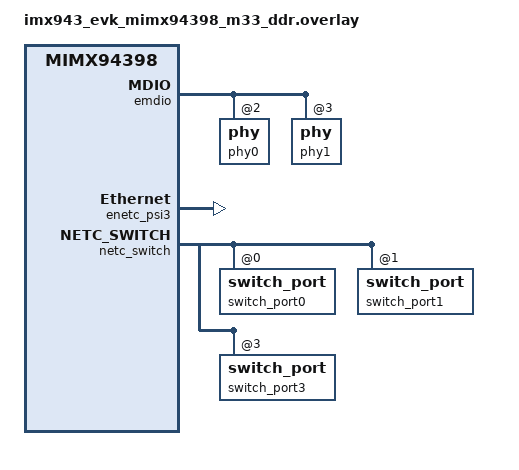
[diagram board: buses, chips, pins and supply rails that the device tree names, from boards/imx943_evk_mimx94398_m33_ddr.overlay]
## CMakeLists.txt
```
# SPDX-License-Identifier: Apache-2.0

cmake_minimum_required(VERSION 3.28.0)

find_package(Zephyr REQUIRED HINTS $ENV{ZEPHYR_BASE})
project(tsn-switch)

target_sources(app PRIVATE src/main.c)
```

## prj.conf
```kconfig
# Kernel
CONFIG_INIT_STACKS=y

# Random generator
CONFIG_TEST_RANDOM_GENERATOR=y

# Networking
CONFIG_NETWORKING=y

# Hostname
CONFIG_NET_HOSTNAME_ENABLE=y
CONFIG_NET_HOSTNAME="tsn-switch"

# IP
CONFIG_NET_IPV6=y
CONFIG_NET_IPV4=y
CONFIG_NET_UDP=y
CONFIG_NET_TCP=y
CONFIG_NET_STATISTICS=y
CONFIG_NET_TC_TX_COUNT=8
CONFIG_NET_TC_RX_COUNT=8
CONFIG_NET_IF_MAX_IPV4_COUNT=6
CONFIG_NET_IF_MAX_IPV6_COUNT=6
CONFIG_NET_PKT_RX_COUNT=64
CONFIG_NET_PKT_TX_COUNT=64
CONFIG_NET_BUF_RX_COUNT=128
CONFIG_NET_BUF_TX_COUNT=128
CONFIG_NET_LOG=y
CONFIG_NET_SHELL=y

# Config
CONFIG_NET_CONFIG_SETTINGS=y
CONFIG_NET_CONFIG_AUTO_INIT=n
CONFIG_NET_CONFIG_MY_IPV6_ADDR="2001:db8::1"
CONFIG_NET_CONFIG_MY_IPV4_ADDR="192.0.2.1"

# DSA support
CONFIG_ETH_DRIVER=y
CONFIG_NET_DSA=y
CONFIG_NET_DSA_LOG_LEVEL_INF=y

# Bridge
CONFIG_NET_ETHERNET_BRIDGE=y
CONFIG_NET_ETHERNET_BRIDGE_ETH_INTERFACE_COUNT=6
CONFIG_NET_ETHERNET_BRIDGE_FDB=y
CONFIG_NET_ETHERNET_BRIDGE_SHELL=y

# gPTP
CONFIG_NET_GPTP=y
CONFIG_NET_GPTP_STATISTICS=y
CONFIG_NET_GPTP_GM_CAPABLE=y
# gPTP bridge default priority1 per standard
CONFIG_NET_GPTP_BMCA_PRIORITY1=246
CONFIG_NET_GPTP_NUM_PORTS=6

# QBV
CONFIG_NET_QBV=y
```

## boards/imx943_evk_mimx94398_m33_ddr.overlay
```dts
/*
 * SPDX-FileCopyrightText: Copyright 2026 NXP
 *
 * SPDX-License-Identifier: Apache-2.0
 */

&emdio {
	status = "okay";

	phy0: phy@2 {
		status = "okay";
	};

	phy1: phy@3 {
		status = "okay";
	};
};

/* Internal port */
&enetc_psi3 {
	status = "okay";
};

&netc_switch {
	status = "okay";

	switch_port0: switch_port@0 {
		ptp-clock = <&netc_ptp_clock0>;
		status = "okay";
	};

	switch_port1: switch_port@1 {
		ptp-clock = <&netc_ptp_clock0>;
		status = "okay";
	};

	/* Internal port */
	switch_port3: switch_port@3 {
		status = "okay";
	};
};

&netc_ptp_clock0 {
	status = "okay";
};
```

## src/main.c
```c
/*
 * SPDX-FileCopyrightText: Copyright 2026 NXP
 *
 * SPDX-License-Identifier: Apache-2.0
 */

#include <zephyr/logging/log.h>
LOG_MODULE_REGISTER(net_tsn_switch_sample, LOG_LEVEL_DBG);

#include "tsn_switch.h"

struct ud g_user_data = {0};

static void bridge_find_cb(struct eth_bridge_iface_context *br, void *user_data)
{
	struct ud *u = user_data;

	if (u->bridge == NULL) {
		u->bridge = br->iface;
		LOG_INF("Find bridge iface %d.", net_if_get_by_iface(br->iface));
	}
}

static void bridge_add_iface_cb(struct net_if *iface, void *user_data)
{
	struct ud *u = user_data;
	int i;
	int ret;

	for (i = 0; i < CONFIG_NET_ETHERNET_BRIDGE_ETH_INTERFACE_COUNT; i++) {
		if (u->iface[i] == NULL) {
			break;
		}
	}

	if (i == CONFIG_NET_ETHERNET_BRIDGE_ETH_INTERFACE_COUNT) {
		return;
	}

	if (net_if_l2(iface) != &NET_L2_GET_NAME(ETHERNET)) {
		return;
	}

	if (net_eth_get_dsa_port_type(iface) == DSA_USER_PORT) {
		u->iface[i] = iface;
	} else {
		return;
	}

	LOG_INF("Find iface %d, adding into bridge.", net_if_get_by_iface(iface));

	ret = eth_bridge_iface_add(u->bridge, iface);
	if (ret < 0) {
		LOG_ERR("eth_bridge_iface_add failed: %d", ret);
	}
}

static int qbv_init(struct net_if *iface)
{
	/*
	 * qbv init for demo purpose
	 * - gate0 always on
	 * - gate1 always off
	 * - gate2 has 2ms slot
	 * - gate3 has 8ms slot
	 * - others always on
	 *
	 * time cycle 10ms   gate7 6 5 4 3 2 1 0
	 * -----------------------------------------
	 * slot 1 - 2ms:         1 1 1 1 0 1 0 1
	 * slot 2 - 8ms:         1 1 1 1 1 0 0 1
	 */
	struct ethernet_req_params params_en = {
		.qbv_param.type = ETHERNET_QBV_PARAM_TYPE_STATUS,
		.qbv_param.state = ETHERNET_QBV_STATE_TYPE_ADMIN,
		.qbv_param.enabled = true,
	};
	struct ethernet_req_params params_time = {
		.qbv_param.type = ETHERNET_QBV_PARAM_TYPE_TIME,
		.qbv_param.state = ETHERNET_QBV_STATE_TYPE_ADMIN,
		.qbv_param.base_time.second = 0,
		.qbv_param.base_time.fract_nsecond = 0,
		.qbv_param.cycle_time.second = 0,
		.qbv_param.cycle_time.nanosecond = 10000000,
		.qbv_param.extension_time = 0,
	};
	struct ethernet_req_params params_list_len = {
		.qbv_param.type = ETHERNET_QBV_PARAM_TYPE_GATE_CONTROL_LIST_LEN,
		.qbv_param.gate_control_list_len = 2,
	};
	struct ethernet_req_params params_list = {
		.qbv_param.type = ETHERNET_QBV_PARAM_TYPE_GATE_CONTROL_LIST,
		.qbv_param.state = ETHERNET_QBV_STATE_TYPE_ADMIN,
		.qbv_param.gate_control.time_interval = 0,
		.qbv_param.gate_control.row = 0,
		.qbv_param.gate_control.gate_status = {0},
	};
	uint8_t list1 = 0b11110101;
	uint8_t list2 = 0b11111001;
	struct net_ptp_time tm = {0};
	const struct device *ptp;
	int ret;

	ptp = net_eth_get_ptp_clock(iface);
	if (ptp == NULL) {
		LOG_ERR("No PTP clock device found on iface %d", net_if_get_by_iface(iface));
		return -ENOENT;
	}

	ret = ptp_clock_get(ptp, &tm);
	if (ret < 0) {
		LOG_ERR("Failed to get PTP clock time: %d", ret);
		return -EINVAL;
	}

	/* Enable Qbv */
	ret = net_mgmt(NET_REQUEST_ETHERNET_SET_QBV_PARAM, iface, &params_en, sizeof(params_en));
	if (ret < 0) {
		LOG_ERR("Failed to enable QBV: %d", ret);
		return -EINVAL;
	}

	/* Set base time with a future time which is 3 seconds later */
	params_time.qbv_param.base_time.second = tm.second + 3;
	ret = net_mgmt(NET_REQUEST_ETHERNET_SET_QBV_PARAM, iface, &params_time,
		       sizeof(params_time));
	if (ret < 0) {
		LOG_ERR("Failed to set QBV base time: %d", ret);
		return -EINVAL;
	}

	/* Set gate control list length */
	ret = net_mgmt(NET_REQUEST_ETHERNET_SET_QBV_PARAM, iface, &params_list_len,
		       sizeof(params_list_len));
	if (ret < 0) {
		LOG_ERR("Failed to set QBV gate control list length: %d", ret);
		return -EINVAL;
	}

	/* Set 1st control list */
	params_list.qbv_param.gate_control.time_interval = 2000000;
	params_list.qbv_param.gate_control.row = 0;
	for (int i = 0; i < CONFIG_NET_TC_TX_COUNT; i++) {
		params_list.qbv_param.gate_control.gate_status[i] = ((list1 & BIT(i)) != 0);
	}
	ret = net_mgmt(NET_REQUEST_ETHERNET_SET_QBV_PARAM, iface, &params_list,
		       sizeof(params_list));
	if (ret < 0) {
		LOG_ERR("Failed to set QBV 1st control list: %d", ret);
		return -EINVAL;
	}

	/* Set 2nd control list */
	params_list.qbv_param.gate_control.time_interval = 8000000;
	params_list.qbv_param.gate_control.row = 1;
	for (int i = 0; i < CONFIG_NET_TC_TX_COUNT; i++) {
		params_list.qbv_param.gate_control.gate_status[i] = ((list2 & BIT(i)) != 0);
	}
	ret = net_mgmt(NET_REQUEST_ETHERNET_SET_QBV_PARAM, iface, &params_list,
		       sizeof(params_list));
	if (ret < 0) {
		LOG_ERR("Failed to set QBV 2nd control list: %d", ret);
		return -EINVAL;
	}

	LOG_INF("TSN switch - Qbv enabled on iface %d\r\n"
		"time cycle 10ms   gate 7 6 5 4 3 2 1 0\r\n"
		"--------------------------------------\r\n"
		"slot 1 - 2ms:          1 1 1 1 0 1 0 1\r\n"
		"slot 2 - 8ms:          1 1 1 1 1 0 0 1",
		net_if_get_by_iface(iface));

	return 0;
}

int main(void)
{
	struct ud *u = &g_user_data;

	/* Find the bridge */
	net_eth_bridge_foreach(bridge_find_cb, u);
	if (u->bridge == NULL) {
		LOG_ERR("No bridge found");
		return -ENOENT;
	}

	/* Add interfaces into bridge */
	net_if_foreach(bridge_add_iface_cb, u);
	if (u->iface[0] == NULL) {
		LOG_ERR("No iface found");
		return -ENOENT;
	}

	/* Link up the bridge interface */
	net_if_up(u->bridge);

	/* Config init */
	net_if_set_default(u->bridge);
	(void)net_config_init_app(net_if_get_device(u->bridge), "Initializing network");

	LOG_INF("TSN switch - Bridge created");

	LOG_INF("TSN switch - gPTP enabled");

	return qbv_init(u->iface[0]);
}
```

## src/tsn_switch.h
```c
/*
 * SPDX-FileCopyrightText: Copyright 2026 NXP
 *
 * SPDX-License-Identifier: Apache-2.0
 */

#ifndef ZEPHYR_SAMPLE_TSN_SWITCH_H_
#define ZEPHYR_SAMPLE_TSN_SWITCH_H_

#include <zephyr/net/ethernet.h>
#include <zephyr/net/ethernet_bridge.h>
#include <zephyr/net/ethernet_mgmt.h>
#include <zephyr/net/net_config.h>
#include <zephyr/drivers/ptp_clock.h>

struct ud {
	struct net_if *bridge;
	struct net_if *iface[CONFIG_NET_ETHERNET_BRIDGE_ETH_INTERFACE_COUNT];
};

extern struct ud g_user_data;

#endif
```
